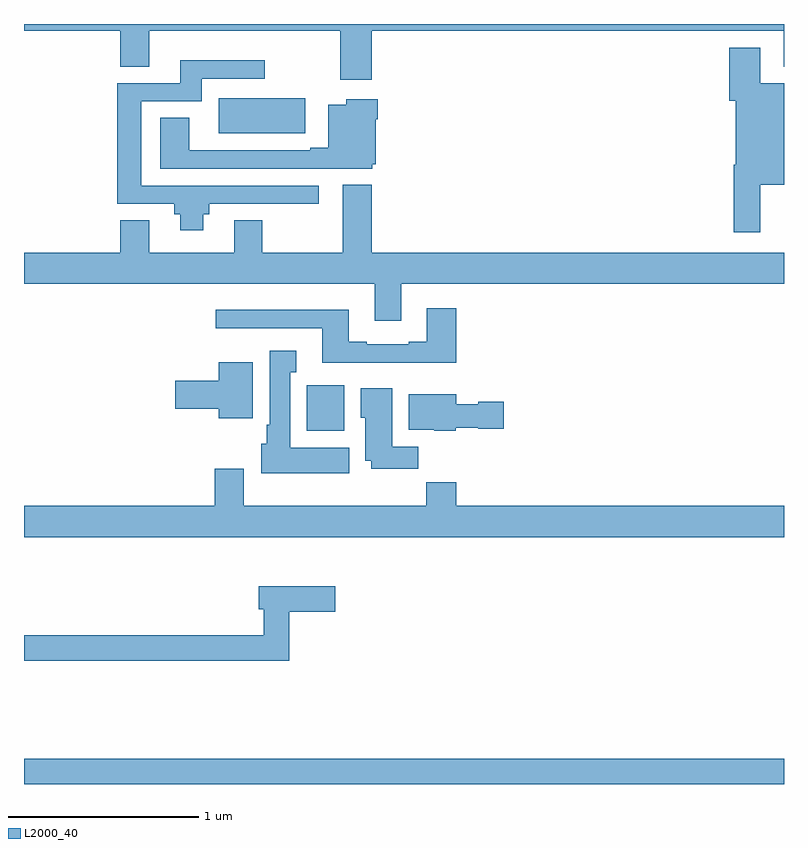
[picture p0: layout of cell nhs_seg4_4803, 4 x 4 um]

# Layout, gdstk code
import gdstk
lib = gdstk.Library(unit=1e-6, precision=1e-09)
def R(c, l, rs):  # rectangles x0, y0, x1, y1
    for r in rs: c.add(gdstk.rectangle(r[:2], r[2:], *l))
def P(c, l, *ps):  # polygons
    for p in ps: c.add(gdstk.Polygon(p, *l))
L2000_40 = (2000, 40)

nhs_seg4_4803 = lib.new_cell('nhs_seg4_4803')
R(nhs_seg4_4803, L2000_40, [(371,748.9,375,749.032), (372.488,750.758,372.685,751)])
P(nhs_seg4_4803, L2000_40, [(374.999,752.674),(375,752.674),(375,752.9),(371,752.9),(371,752.864),(371.507,752.864),(371.507,752.674),(371.659,752.674),(371.659,752.864),(372.665,752.864),(372.665,752.607),(372.83,752.607),(372.83,752.864),(374.999,752.864)],
  [(374.875,752.054),(375,752.054),(375,752.589),(374.875,752.589),(374.875,752.776),(374.711,752.776),(374.711,752.496),(374.747,752.496),(374.747,752.158),(374.735,752.158),(374.735,751.803),(374.875,751.803)],
  [(371.944,751.899),(371.975,751.899),(371.975,751.953),(372.55,751.953),(372.55,752.049),(371.617,752.049),(371.617,752.493),(371.935,752.493),(371.935,752.613),(372.268,752.613),(372.268,752.71),(371.822,752.71),(371.822,752.589),(371.492,752.589),(371.492,751.953),(371.792,751.953),(371.792,751.899),(371.822,751.899),(371.822,751.814),(371.944,751.814)],
  [(372.377,752.325),(372.48,752.325),(372.48,752.509),(372.026,752.509),(372.026,752.324),(372.377,752.324)],
  [(372.834,752.163),(372.85,752.163),(372.85,752.399),(372.863,752.399),(372.863,752.503),(372.696,752.503),(372.696,752.476),(372.602,752.476),(372.602,752.249),(372.506,752.249),(372.506,752.235),(371.869,752.235),(371.869,752.407),(371.717,752.407),(371.717,752.139),(372.834,752.139)],
  [(372.985,751.532),(375,751.532),(375,751.696),(372.83,751.696),(372.83,752.053),(372.677,752.053),(372.677,751.696),(372.255,751.696),(372.255,751.868),(372.107,751.868),(372.107,751.696),(371.659,751.696),(371.659,751.868),(371.507,751.868),(371.507,751.696),(371,751.696),(371,751.532),(372.845,751.532),(372.845,751.338),(372.985,751.338)],
  [(373.274,751.405),(373.121,751.405),(373.121,751.228),(373.025,751.228),(373.025,751.215),(372.805,751.215),(372.805,751.228),(372.709,751.228),(372.709,751.396),(372.009,751.396),(372.009,751.299),(372.569,751.299),(372.569,751.118),(373.274,751.118)],
  [(372.712,750.67),(372.4,750.67),(372.4,751.067),(372.433,751.067),(372.433,751.18),(372.293,751.18),(372.293,750.79),(372.278,750.79),(372.278,750.69),(372.248,750.69),(372.248,750.536),(372.712,750.536)],
  [(372.205,751.12),(372.026,751.12),(372.026,751.022),(371.796,751.022),(371.796,750.875),(372.026,750.875),(372.026,750.824),(372.205,750.824)],
  [(373.076,750.676),(372.937,750.676),(372.937,750.982),(372.773,750.982),(372.773,750.828),(372.797,750.828),(372.797,750.602),(372.827,750.602),(372.827,750.558),(373.076,750.558)],
  [(373.272,750.776),(373.392,750.776),(373.392,750.769),(373.525,750.769),(373.525,750.911),(373.392,750.911),(373.392,750.898),(373.276,750.898),(373.276,750.952),(373.025,750.952),(373.025,750.764),(373.158,750.764),(373.158,750.758),(373.272,750.758)],
  [(375,750.364),(373.274,750.364),(373.274,750.488),(373.117,750.488),(373.117,750.364),(372.157,750.364),(372.157,750.559),(372.005,750.559),(372.005,750.364),(371,750.364),(371,750.2),(375,750.2)],
  [(372.395,749.807),(372.637,749.807),(372.637,749.941),(372.236,749.941),(372.236,749.819),(372.263,749.819),(372.263,749.684),(371,749.684),(371,749.548),(372.395,749.548)])

lib.write_gds('nhs_seg4_4803.gds')
